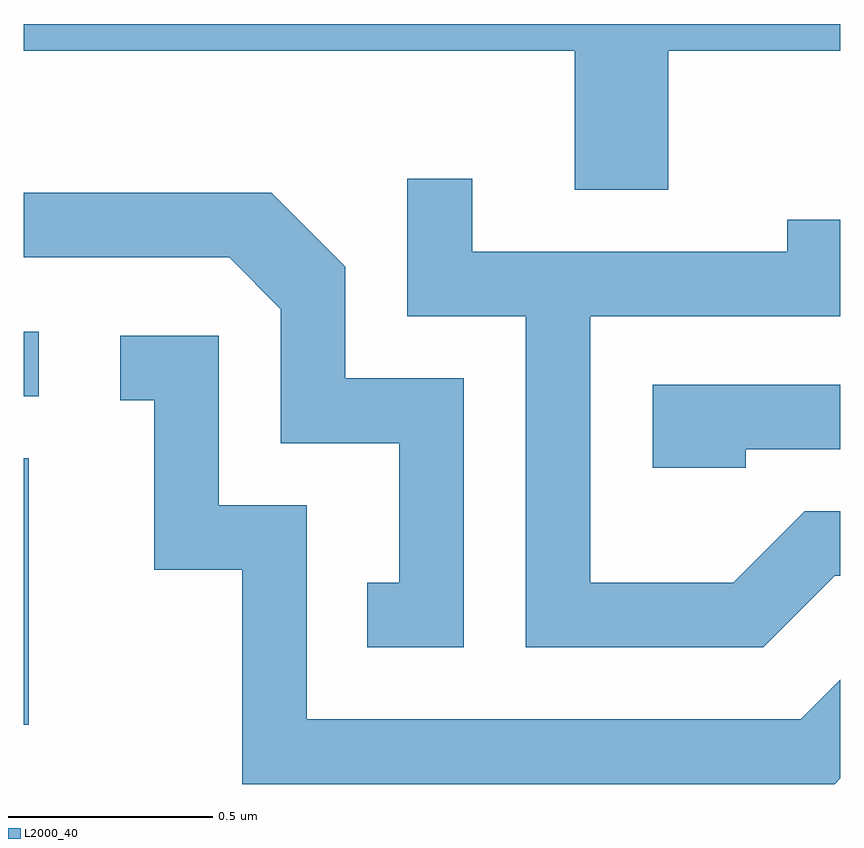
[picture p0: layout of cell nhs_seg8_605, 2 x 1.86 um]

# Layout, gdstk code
import gdstk
lib = gdstk.Library(unit=1e-6, precision=1e-09)
def R(c, l, rs):  # rectangles x0, y0, x1, y1
    for r in rs: c.add(gdstk.rectangle(r[:2], r[2:], *l))
def P(c, l, *ps):  # polygons
    for p in ps: c.add(gdstk.Polygon(p, *l))
L2000_40 = (2000, 40)

nhs_seg8_605 = lib.new_cell('nhs_seg8_605')
R(nhs_seg8_605, L2000_40, [(189.611,1863.626,189.624,1864.279), (189.611,1864.431,189.648,1864.589)])
P(nhs_seg8_605, L2000_40, [(191.189,1865.276),(191.611,1865.276),(191.611,1865.342),(189.611,1865.342),(189.611,1865.276),(190.961,1865.276),(190.961,1864.936),(191.189,1864.936)],
  [(191.597,1863.991),(191.611,1863.991),(191.611,1864.149),(191.524,1864.149),(191.349,1863.974),(190.999,1863.974),(190.999,1864.626),(191.611,1864.626),(191.611,1864.863),(191.481,1864.863),(191.481,1864.784),(190.709,1864.784),(190.709,1864.963),(190.551,1864.963),(190.551,1864.626),(190.841,1864.626),(190.841,1863.816),(191.422,1863.816)],
  [(190.689,1864.474),(190.399,1864.474),(190.399,1864.747),(190.217,1864.929),(189.611,1864.929),(189.611,1864.771),(190.114,1864.771),(190.241,1864.644),(190.241,1864.316),(190.531,1864.316),(190.531,1863.974),(190.453,1863.974),(190.453,1863.816),(190.689,1863.816)],
  [(191.611,1863.495),(191.611,1863.736),(191.514,1863.639),(190.304,1863.639),(190.304,1864.164),(190.089,1864.164),(190.089,1864.579),(189.848,1864.579),(189.848,1864.421),(189.931,1864.421),(189.931,1864.006),(190.146,1864.006),(190.146,1863.481),(191.597,1863.481)],
  [(191.379,1864.301),(191.611,1864.301),(191.611,1864.459),(191.151,1864.459),(191.151,1864.256),(191.379,1864.256)])

lib.write_gds('nhs_seg8_605.gds')
